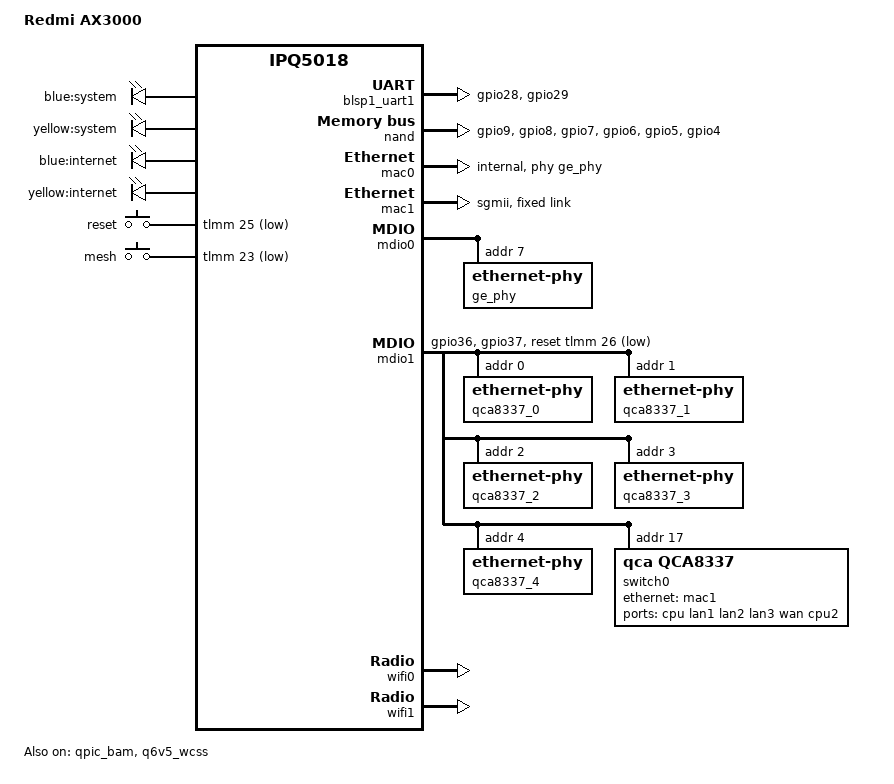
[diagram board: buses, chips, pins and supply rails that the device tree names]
// SPDX-License-Identifier: (GPL-2.0+)

/dts-v1/;

#include "ipq5018.dtsi"
#include <dt-bindings/gpio/gpio.h>
#include <dt-bindings/input/input.h>

/ {
	model = "Redmi AX3000";
	compatible = "redmi,ax3000", "qcom,ipq5018";

	#address-cells = <2>;
	#size-cells = <2>;
	interrupt-parent = <&intc>;

	aliases {
		serial0 = &blsp1_uart1;

		ethernet0 = &mac0;
		ethernet1 = &mac1;

		led-boot = &led_system_blue;
		led-failsafe = &led_system_yellow;
		led-running = &led_system_blue;
		led-upgrade = &led_system_yellow;
	};

	chosen {
		// Override the root parameter from u-boot
		// Increase coherent_pool size for WiFi
		bootargs-append = " root=/dev/ubiblock0_1 coherent_pool=2M";
		stdout-path = "serial0:115200n8";
	};

	reserved-memory {
		// Not sure why but without this, WiFi will crash
		tz_apps@4a400000 {
			no-map;
			// The size is incorrent, but it works
			reg = <0x0 0x4a400000 0x0 0x700000>;
		};

		q6_mem_regions: q6_mem_regions@4b000000 {
			no-map;
			// reg = <0x0 0x4b000000 0x0 0x3b00000>;
			reg = <0x0 0x4b000000 0x0 0x3000000>;
		};
	};

	thermal-zones {
		status = "ok";
	};
};

&tlmm {
	blsp_uart0_pins: blsp_uart0_pins {
		pins =
			"gpio28", // RX
			"gpio29"; // TX
		function = "blsp0_uart1";
		drive-strength = <8>;
		bias-disable;
	};

	qspi_nand_pins: qspi_nand_pins {
		clock {
			pins = "gpio9";
			function = "qspi_clk";
			drive-strength = <8>;
			bias-disable;
		};

		cs {
			pins = "gpio8";
			function = "qspi_cs";
			drive-strength = <8>;
			bias-disable;
		};

		data0 {
			pins = "gpio7";
			function = "qspi0";
			drive-strength = <8>;
			bias-disable;
		};

		data1 {
			pins = "gpio6";
			function = "qspi1";
			drive-strength = <8>;
			bias-disable;
		};

		data2 {
			pins = "gpio5";
			function = "qspi2";
			drive-strength = <8>;
			bias-disable;
		};

		data3 {
			pins = "gpio4";
			function = "qspi3";
			drive-strength = <8>;
			bias-disable;
		};
	};

	mdio1_pins: mdio1_pins {
		mdc {
			pins = "gpio36";
			function = "mdc";
			drive-strength = <8>;
			bias-pull-up;
		};

		mdio {
			pins = "gpio37";
			function = "mdio";
			drive-strength = <8>;
			bias-pull-up;
		};
	};

	leds_pins: leds_pins {
		led_system_blue {
			pins = "gpio19";
			function = "gpio";
			drive-strength = <8>;
			bias-pull-down;
		};

		led_system_yellow {
			pins = "gpio17";
			function = "gpio";
			drive-strength = <8>;
			bias-pull-down;
		};

		led_internet_blue {
			pins = "gpio22";
			function = "gpio";
			drive-strength = <8>;
			bias-pull-down;
		};

		led_internet_yellow {
			pins = "gpio20";
			function = "gpio";
			drive-strength = <8>;
			bias-pull-down;
		};
	};

	button_pins: button_pins {
		button_reset {
			pins = "gpio25";
			function = "gpio";
			drive-strength = <8>;
			bias-pull-up;
		};

		button_mesh {
			pins = "gpio23";
			function = "gpio";
			drive-strength = <8>;
			bias-pull-up;
		};
	};
};

&blsp1_uart1 {
	pinctrl-0 = <&blsp_uart0_pins>;
	pinctrl-names = "default";
	status = "ok";
};

&qpic_bam {
	status = "ok";
};

&nand {
	pinctrl-0 = <&qspi_nand_pins>;
	pinctrl-names = "default";
	status = "ok";
};

&soc {
	leds {
		compatible = "gpio-leds";
		pinctrl-0 = <&leds_pins>;
		pinctrl-names = "default";

		led_system_blue: led_system_blue {
			label = "blue:system";
			gpio = <&tlmm 19 GPIO_ACTIVE_HIGH>;
			default-state = "on";
		};

		led_system_yellow: led_system_yellow {
			label = "yellow:system";
			gpio = <&tlmm 17 GPIO_ACTIVE_HIGH>;
		};

		led_internet_blue: led_internet_blue {
			label = "blue:internet";
			gpio = <&tlmm 22 GPIO_ACTIVE_HIGH>;
		};

		led_internet_yellow: led_internet_yellow {
			label = "yellow:internet";
			gpio = <&tlmm 20 GPIO_ACTIVE_HIGH>;
		};
	};

	button {
		compatible = "gpio-keys";
		pinctrl-0 = <&button_pins>;
		pinctrl-names = "default";

		button_reset {
			label = "reset";
			gpios = <&tlmm 25 GPIO_ACTIVE_LOW>;
			linux,input-type = <EV_KEY>;
			linux,code = <KEY_RESTART>;
			debounce-interval = <60>;
		};

		button_mesh {
			label = "mesh";
			gpios = <&tlmm 23 GPIO_ACTIVE_LOW>;
			linux,input-type = <EV_KEY>;
			linux,code = <BTN_9>;
			debounce-interval = <60>;
		};
	};

	ess-instance {
		num_devices = <1>;

		// Dummy switch, to describe how the external ports connects to the MAC
		// For example, some chips have PSGMII ports which combine 5 MAC into
		// 1 external port.
		// For IPQ50xx, this is used to choose SGMII or SGMII-plus
		ess-switch@0x39c00000 {
			compatible = "qcom,ess-switch-ipq50xx";
			device_id = <0>;

			cmnblk_clk = "internal_96MHz";

			// MAC1 Mode
			// switch_mac_mode = <0xc>; // PORT_WRAPPER_SGMII_PLUS
			switch_mac_mode = <0xf>; // PORT_WRAPPER_SGMII_CHANNEL0

			qcom,port_phyinfo {
				// MAC0 -> GE Phy -> QCA8337 Phy4
				port@0 {
					port_id = <1>;

					mdiobus = <&mdio0>;
					phy_address = <7>;

					phy_dac = <0x10 0x10>;
				};

				// MAC1 ---SGMII---> QCA8337 SerDes
				port@1 {
					port_id = <2>;

					forced-speed = <1000>;
					forced-duplex = <1>;
				};
			};
		};
	};

	// MAC0 -> GE Phy
	mac0: dp1 {
		compatible = "qcom,nss-dp";
		device_type = "network";
		qcom,id = <1>;

		reg = <0x39C00000 0x10000>;
		interrupts = <GIC_SPI 101 IRQ_TYPE_LEVEL_HIGH>;
		clocks = <&gcc GCC_SNOC_GMAC0_AXI_CLK>;
		clock-names = "nss-snoc-gmac-axi-clk";

		qcom,mactype = <2>; // GMAC_HAL_TYPE_SYN_GMAC
		local-mac-address = [000000000000];
		phy-handle = <&ge_phy>;
		phy-mode = "internal";
	};

	// MAC1 ---SGMII---> QCA8337 SerDes
	mac1: dp2 {
		compatible = "qcom,nss-dp";
		device_type = "network";
		qcom,id = <2>;

		reg = <0x39D00000 0x10000>;
		interrupts = <GIC_SPI 109 IRQ_TYPE_LEVEL_HIGH>;
		clocks = <&gcc GCC_SNOC_GMAC1_AXI_CLK>;
		clock-names = "nss-snoc-gmac-axi-clk";

		qcom,mactype = <2>; // GMAC_HAL_TYPE_SYN_GMAC
		local-mac-address = [000000000000];
		phy-mode = "sgmii";

		fixed-link {
			speed = <1000>;
			full-duplex;
		};
	};
};

&mdio0 {
	status = "ok";

	resets = <&gcc GCC_GEPHY_MDC_SW_ARES>;
	reset-names = "phy";

	// IPQ5018 GE Phy -> QCA8337 Phy4
	ge_phy: ethernet-phy@0 {
		reg = <7>;
	};
};

&mdio1 {
	pinctrl-0 = <&mdio1_pins>;
	pinctrl-names = "default";
	status = "ok";

	reset-gpios = <&tlmm 26 GPIO_ACTIVE_LOW>;

	// QCA8337 Phy0 -> LAN1
	qca8337_0: ethernet-phy@0 {
		reg = <0>;
	};

	// QCA8337 Phy1 -> LAN2
	qca8337_1: ethernet-phy@1 {
		reg = <1>;
	};

	// QCA8337 Phy2 -> LAN3
	qca8337_2: ethernet-phy@2 {
		reg = <2>;
	};

	// QCA8337 Phy3 -> WAN
	qca8337_3: ethernet-phy@3 {
		reg = <3>;
	};

	// QCA8337 Phy4 -> IPQ5018 GE Phy
	qca8337_4: ethernet-phy@4 {
		reg = <4>;
	};


	// QCA8337 switch
	switch0: ethernet-switch@17 {
		compatible = "qca,qca8337";
		#address-cells = <1>;
		#size-cells = <0>;

		reg = <17>;

		ports {
			#address-cells = <1>;
			#size-cells = <0>;

			switch0cpu: port@0 {
				reg = <0>;
				label = "cpu";
				phy-mode = "sgmii";
				ethernet = <&mac1>;
				qca,sgmii-enable-pll;

				fixed-link {
					speed = <1000>;
					full-duplex;
				};
			};

			port@1 {
				reg = <1>;
				label = "lan1";
				phy-handle = <&qca8337_0>;
			};

			port@2 {
				reg = <2>;
				label = "lan2";
				phy-handle = <&qca8337_1>;
			};

			port@3 {
				reg = <3>;
				label = "lan3";
				phy-handle = <&qca8337_2>;
			};

			port@4 {
				reg = <4>;
				label = "wan";
				phy-handle = <&qca8337_3>;
			};

			port@5 {
				reg = <5>;
				label = "cpu2";
				phy-handle = <&qca8337_4>;
			};
		};
	};
};

&q6v5_wcss {
	memory-region = <&q6_mem_regions>;

	qcom,rproc = <&q6v5_wcss>;
	firmware = "IPQ5018/q6_fw.mdt";

	qcom,bootargs_smem = <507>;
	boot-args = <0x2 0x4 0x2 0x1B 0x0 0x0>;

	status = "ok";

	// IPQ5018
	q6_wcss_pd1: remoteproc_pd1@4ab000 {
		compatible = "qcom,ipq5018-wcss-ahb-mpd";

		resets =
			<&gcc GCC_WCSSAON_RESET>,
			<&gcc GCC_WCSS_BCR>,
			<&gcc GCC_CE_BCR>;
		reset-names =
			"wcss_aon_reset",
			"wcss_reset",
			"ce_reset";

		clocks =
			<&gcc GCC_WCSS_AHB_S_CLK>,
			<&gcc GCC_WCSS_ACMT_CLK>,
			<&gcc GCC_WCSS_AXI_M_CLK>;
		clock-names =
			"gcc_wcss_ahb_s_clk",
					"gcc_wcss_acmt_clk",
					"gcc_wcss_axi_m_clk";

		reg = <0x4ab000 0x20>;
		reg-names = "rmb";

		// qcom,halt-regs = <&tcsr_q6_block 0xa000 0xd000 0x0>;

		interrupts-extended =
			<&wcss_smp2p_in 8 0>,
			<&wcss_smp2p_in 9 0>,
			<&wcss_smp2p_in 12 0>,
			<&wcss_smp2p_in 11 0>;
		interrupt-names =
			"fatal",
			"ready",
			"spawn-ack",
			"stop-ack";

		qcom,smem-states =
			<&wcss_smp2p_out 8>,
			<&wcss_smp2p_out 9>,
			<&wcss_smp2p_out 10>;
		qcom,smem-state-names =
			"shutdown",
			"stop",
			"spawn";

		firmware = "IPQ5018/q6_fw.mdt";
		m3_firmware = "IPQ5018/m3_fw.mdt";
	};

	// QCN6102
	q6_wcss_pd2: remoteproc_pd2 {
		compatible = "qcom,ipq5018-wcss-pcie-mpd";

		interrupts-extended =
			<&wcss_smp2p_in 16 0>,
			<&wcss_smp2p_in 17 0>,
			<&wcss_smp2p_in 20 0>,
			<&wcss_smp2p_in 19 0>;
		interrupt-names =
			"fatal",
			"ready",
			"spawn-ack",
			"stop-ack";

		qcom,smem-states =
			<&wcss_smp2p_out 16>,
			<&wcss_smp2p_out 17>,
			<&wcss_smp2p_out 18>;
		qcom,smem-state-names =
			"shutdown",
			"stop",
			"spawn";

		firmware = "IPQ5018/q6_fw.mdt";
		m3_firmware = "qcn6122/m3_fw.mdt";
	};
};

&wifi0 {
	// IPQ5000
	qcom,multipd_arch;
	qcom,rproc = <&q6_wcss_pd1>;
	qcom,userpd-subsys-name = "q6v5_wcss_userpd1";

	// Be overridden by /etc/hotplug.d/firmware/10-ath11k-board_id
	// M79: 0x10
	// M81: 0x24
	qcom,board_id = <0x24>;

	// qcom,ath11k-fw-memory-mode = <0>;
	// qcom,bdf-addr = <0x4c400000>;
	// qcom,caldb-addr = <0x4d200000>;
	// qcom,m3-dump-addr = <0x4d400000>;

	qcom,ath11k-fw-memory-mode = <2>;
	qcom,bdf-addr = <0x4c400000>;

	status = "ok";
};

&wifi1 {
	// QCN6102
	qcom,multipd_arch;
	qcom,rproc = <&q6_wcss_pd2>;
	qcom,userpd-subsys-name = "q6v5_wcss_userpd2";

	qcom,board_id = <0x60>;

	// qcom,ath11k-fw-memory-mode = <0>;
	// qcom,bdf-addr = <0x4d500000>;
	// qcom,caldb-addr = <0x4e500000>;
	// qcom,m3-dump-addr = <0x4ea00000>;

	qcom,ath11k-fw-memory-mode = <2>;
	qcom,bdf-addr = <0x4d100000>;
	qcom,m3-dump-addr = <0x4df00000>;

	status = "ok";
};
